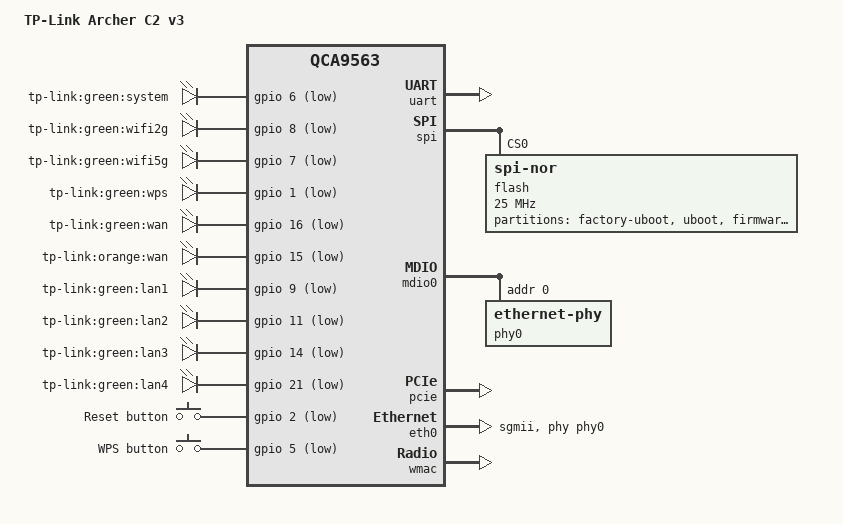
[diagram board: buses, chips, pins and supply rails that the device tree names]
// SPDX-License-Identifier: GPL-2.0-or-later OR MIT
/dts-v1/;

#include <dt-bindings/gpio/gpio.h>
#include <dt-bindings/input/input.h>

#include "qca956x.dtsi"

/ {
	compatible = "tplink,archer-c2-v3", "qca,qca9563";
	model = "TP-Link Archer C2 v3";

	aliases {
		led-boot = &led_system;
		led-failsafe = &led_system;
		led-running = &led_system;
		led-upgrade = &led_system;
	};

	leds {
		compatible = "gpio-leds";

		led_system: system {
			label = "tp-link:green:system";
			gpios = <&gpio 6 GPIO_ACTIVE_LOW>;
			default-state = "on";
		};

		wifi2g {
			label = "tp-link:green:wifi2g";
			gpios = <&gpio 8 GPIO_ACTIVE_LOW>;
			linux,default-trigger = "phy1tpt";
		};

		wifi5g {
			label = "tp-link:green:wifi5g";
			gpios = <&gpio 7 GPIO_ACTIVE_LOW>;
			linux,default-trigger = "phy0tpt";
		};

		wifi_wps {
			label = "tp-link:green:wps";
			gpios = <&gpio 1 GPIO_ACTIVE_LOW>;
		};

		wan {
			label = "tp-link:green:wan";
			gpios = <&gpio 16 GPIO_ACTIVE_LOW>;
		};

		wan_fail {
			label = "tp-link:orange:wan";
			gpios = <&gpio 15 GPIO_ACTIVE_LOW>;
		};

		lan1 {
			label = "tp-link:green:lan1";
			gpios = <&gpio 9 GPIO_ACTIVE_LOW>;
		};

		lan2 {
			label = "tp-link:green:lan2";
			gpios = <&gpio 11 GPIO_ACTIVE_LOW>;
		};

		lan3 {
			label = "tp-link:green:lan3";
			gpios = <&gpio 14 GPIO_ACTIVE_LOW>;
		};

		lan4 {
			label = "tp-link:green:lan4";
			gpios = <&gpio 21 GPIO_ACTIVE_LOW>;
		};
	};

	keys {
		compatible = "gpio-keys";

		reset {
			label = "Reset button";
			linux,code = <KEY_RESTART>;
			gpios = <&gpio 2 GPIO_ACTIVE_LOW>;
			debounce-interval = <60>;
		};

		wps {
			label = "WPS button";
			linux,code = <KEY_WPS_BUTTON>;
			gpios = <&gpio 5 GPIO_ACTIVE_LOW>;
			debounce-interval = <60>;
		};
	};
};

&uart {
	status = "okay";
};

&spi {
	status = "okay";

	num-cs = <1>;

	flash@0 {
		compatible = "jedec,spi-nor";
		reg = <0>;
		spi-max-frequency = <25000000>;

		partitions {
			compatible = "fixed-partitions";
			#address-cells = <1>;
			#size-cells = <1>;

			partition@0 {
				label = "factory-uboot";
				reg = <0x000000 0x020000>;
				read-only;
			};

			partition@20000 {
				label = "uboot";
				reg = <0x020000 0x10000>;
				read-only;
			};

			partition@30000 {
				label = "firmware";
				reg = <0x030000 0x7A0000>;
				compatible = "denx,uimage";
			};

			info: partition@7e0000 {
				label = "info";
				reg = <0x7e0000 0x010000>;
				read-only;
			};

			art: partition@7f0000 {
				label = "art";
				reg = <0x7f0000 0x010000>;
				read-only;
			};
		};
	};
};

&gpio {
	status = "okay";
};

&mdio0 {
	status = "okay";

	phy-mask = <0>;
	phy0: ethernet-phy@0 {
		reg = <0>;
		phy-mode = "sgmii";
		qca,mib-poll-interval = <500>;

		qca,ar8327-initvals = <
			0x04 0x00080080 /* PORT0 PAD MODE CTRL */
			0x7c 0x0000007e /* PORT0_STATUS */
		>;
	};
};

&pcie {
	status = "okay";
};

&eth0 {
	status = "okay";

	mtd-mac-address = <&info 0x8>;
	phy-mode = "sgmii";
	phy-handle = <&phy0>;
};

&wmac {
	status = "okay";

	mtd-cal-data = <&art 0x1000>;
	mtd-mac-address = <&info 0x8>;
};
